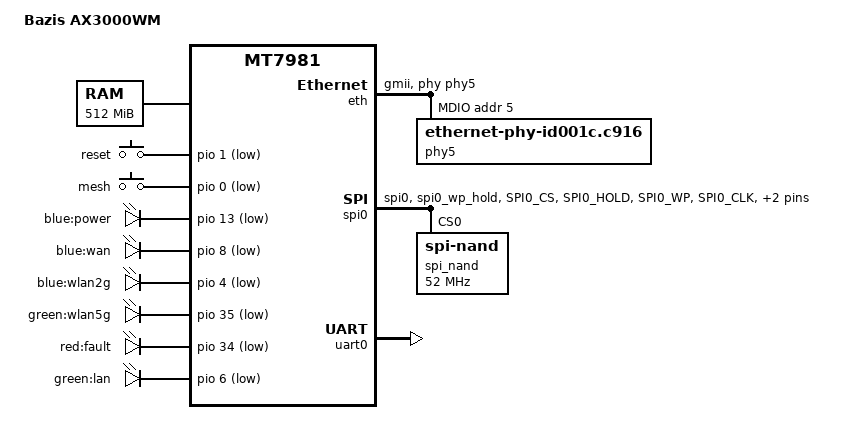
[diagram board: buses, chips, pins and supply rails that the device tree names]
// SPDX-License-Identifier: GPL-2.0-or-later

/dts-v1/;
#include "mt7981.dtsi"
#include <dt-bindings/gpio/gpio.h>
#include <dt-bindings/input/linux-event-codes.h>

/ {
	#address-cells = <1>;
	#size-cells = <1>;
	model = "Bazis AX3000WM";
	compatible = "bazis,ax3000wm", "mediatek,mt7981";

	chosen {
		stdout-path = &uart0;
		tick-timer = &timer0;
	};

	config {
		bootcmd = "mtkboardboot";
		blink_led = "blue:power";
		system_led = "blue:power";
	};

	mtd-layout {
		layout@0 {
			label = "default";
			mtdids = "nmbm0=nmbm0";
			mtdparts = "nmbm0:1024k(bl2),512k(u-boot-env),2048k(factory),2048k(fip),65536k(ubi)";
		};

		layout@1 {
			label = "122m";
			mtdids = "nmbm0=nmbm0";
			mtdparts = "nmbm0:1024k(bl2),512k(u-boot-env),2048k(factory),2048k(fip),125000k(ubi)";
		};
	};

	memory@40000000 {
		device_type = "memory";
		reg = <0x40000000 0x20000000>;
	};

	gpio-keys {
		compatible = "gpio-keys";

		button-reset {
			label = "reset";
			linux,code = <KEY_RESTART>;
			gpios = <&pio 1 GPIO_ACTIVE_LOW>;
		};

		button-mesh {
			label = "mesh";
			linux,code = <KEY_RFKILL>;
			gpios = <&pio 0 GPIO_ACTIVE_LOW>;
		};
	};

	gpio-leds {
		compatible = "gpio-leds";

		led_status: led-0 {
			label = "blue:power";
			gpios = <&pio 13 GPIO_ACTIVE_LOW>;
		};

		led-1 {
			label = "blue:wan";
			gpios = <&pio 8 GPIO_ACTIVE_LOW>;
		};

		led-2 {
			label = "blue:wlan2g";
			gpios = <&pio 4 GPIO_ACTIVE_LOW>;
		};

		led-3 {
			label = "green:wlan5g";
			gpios = <&pio 35 GPIO_ACTIVE_LOW>;
		};

		led-4 {
			label = "red:fault";
			gpios = <&pio 34 GPIO_ACTIVE_LOW>;
		};

		led-5 {
			label = "green:lan";
			gpios = <&pio 6 GPIO_ACTIVE_LOW>;
		};
	};

	bl2_verify {
		bl2_compatible = "spim-nand";
	};
};

&eth {
	status = "okay";
	mediatek,gmac-id = <1>;
	phy-mode = "gmii";
	phy-handle = <&phy5>;

	mdio {
		phy5: ethernet-phy@5 {
			compatible = "ethernet-phy-id001c.c916", "ethernet-phy-ieee802.3-c45";
			reg = <0x5>;
			phy-mode = "gmii";
		};
	};
};

&pio {
	spi_flash_pins: spi0-pins-func-1 {
		mux {
			function = "flash";
			groups = "spi0", "spi0_wp_hold";
		};

		conf-pu {
			pins = "SPI0_CS", "SPI0_HOLD", "SPI0_WP";
			drive-strength = <MTK_DRIVE_4mA>;
			bias-pull-up = <MTK_PUPD_SET_R1R0_11>;
		};

		conf-pd {
			pins = "SPI0_CLK", "SPI0_MOSI", "SPI0_MISO";
			drive-strength = <MTK_DRIVE_4mA>;
			bias-pull-down = <MTK_PUPD_SET_R1R0_11>;
		};
	};
};

&spi0 {
	#address-cells = <1>;
	#size-cells = <0>;
	pinctrl-names = "default";
	pinctrl-0 = <&spi_flash_pins>;
	status = "okay";
	must_tx;
	enhance_timing;
	dma_ext;
	ipm_design;
	support_quad;
	tick_dly = <2>;
	sample_sel = <0>;

	spi_nand@0 {
		compatible = "spi-nand";
		reg = <0>;
		spi-max-frequency = <52000000>;
	};
};

&uart0 {
	status = "okay";
};

&watchdog {
	status = "disabled";
};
